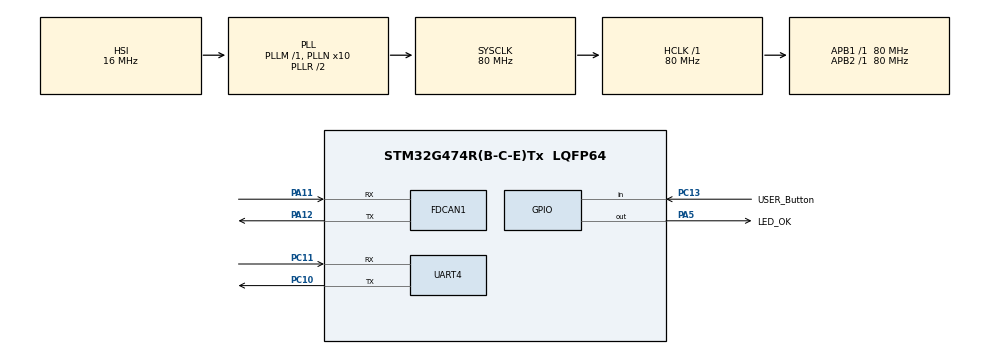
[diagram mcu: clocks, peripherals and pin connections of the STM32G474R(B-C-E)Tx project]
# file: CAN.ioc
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FDCAN1.AutoRetransmission=ENABLE
FDCAN1.DataSyncJumpWidth=4
FDCAN1.DataTimeSeg1=5
FDCAN1.DataTimeSeg2=4
FDCAN1.ExtFiltersNbr=1
FDCAN1.FrameFormat=FDCAN_FRAME_FD_BRS
FDCAN1.Mode=FDCAN_MODE_EXTERNAL_LOOPBACK
FDCAN1.NominalSyncJumpWidth=16
FDCAN1.NominalTimeSeg1=63
FDCAN1.NominalTimeSeg2=16
FDCAN1.StdFiltersNbr=1
FDCAN1.TransmitPause=ENABLE
FDCAN1.TxFifoQueueMode=FDCAN_TX_FIFO_OPERATION
FREERTOS.HEAP_NUMBER=2
FREERTOS.INCLUDE_uxTaskGetStackHighWaterMark=1
FREERTOS.INCLUDE_uxTaskGetStackHighWaterMark2=1
FREERTOS.Tasks01=defaultTask,0,384,StartDefaultTask,Default,NULL,Dynamic,NULL,NULL
FREERTOS.configCHECK_FOR_STACK_OVERFLOW=2
FREERTOS.configENABLE_BACKWARD_COMPATIBILITY=0
FREERTOS.configRECORD_STACK_HIGH_ADDRESS=1
FREERTOS.configUSE_COUNTING_SEMAPHORES=1
FREERTOS.configUSE_MALLOC_FAILED_HOOK=1
FREERTOS.configUSE_NEWLIB_REENTRANT=1
IWDG.Prescaler=IWDG_PRESCALER_16
IWDG.Reload=3999
IWDG.Window=3999
Mcu.Family=STM32G4
Mcu.Name=STM32G474R(B-C-E)Tx
Mcu.Package=LQFP64
NVIC.FDCAN1_IT0_IRQn=true\:5\:0\:false\:false\:true\:true\:true\:true\:true
NVIC.FDCAN1_IT1_IRQn=true\:5\:0\:false\:false\:true\:true\:true\:true\:true
NVIC.PriorityGroup=NVIC_PRIORITYGROUP_4
NVIC.TIM1_TRG_COM_TIM17_IRQn=true\:15\:0\:false\:false\:true\:false\:false\:true\:true
NVIC.TIM1_UP_TIM16_IRQn=true\:5\:0\:false\:false\:true\:true\:true\:true\:true
NVIC.TimeBase=TIM1_TRG_COM_TIM17_IRQn
NVIC.TimeBaseIP=TIM17
NVIC.UART4_IRQn=true\:5\:0\:false\:false\:true\:true\:true\:true\:true
PA11.Mode=FDCAN_Activate
PA11.Signal=FDCAN1_RX
PA12.Mode=FDCAN_Activate
PA12.Signal=FDCAN1_TX
PA13.Mode=Trace_Asynchronous_SW
PA13.Signal=SYS_JTMS-SWDIO
PA14.Mode=Trace_Asynchronous_SW
PA14.Signal=SYS_JTCK-SWCLK
PA5.GPIO_Label=LED_OK
PA5.Signal=GPIO_Output
PB3.Mode=Trace_Asynchronous_SW
PB3.Signal=SYS_JTDO-SWO
PC10.Mode=Asynchronous
PC10.Signal=UART4_TX
PC11.Mode=Asynchronous
PC11.Signal=UART4_RX
PC13.GPIO_Label=USER_Button
PC13.Signal=GPIO_Input
ProjectManager.HeapSize=0x200
ProjectManager.StackSize=0x400
ProjectManager.TargetToolchain=STM32CubeIDE
RCC.ADC12Freq_Value=80000000
RCC.ADC345Freq_Value=80000000
RCC.AHBFreq_Value=80000000
RCC.APB1Freq_Value=80000000
RCC.APB1TimFreq_Value=80000000
RCC.APB2Freq_Value=80000000
RCC.APB2TimFreq_Value=80000000
RCC.CortexFreq_Value=80000000
RCC.EXTERNAL_CLOCK_VALUE=12288000
RCC.HCLKFreq_Value=80000000
RCC.HSE_VALUE=8000000
RCC.HSI48_VALUE=48000000
RCC.HSI_VALUE=16000000
RCC.LSE_VALUE=32768
RCC.PLLN=10
RCC.SYSCLKFreq_VALUE=80000000
RCC.SYSCLKSource=RCC_SYSCLKSOURCE_PLLCLK
RCC.USBFreq_Value=80000000
RCC.VCOOutputFreq_Value=160000000
TIM16.PeriodNoDither=100
TIM16.Prescaler=80
UART4.OverrunDisableParam=UART_ADVFEATURE_OVERRUN_DISABLE
VP_FREERTOS_VS_CMSIS_V1.Mode=CMSIS_V1
VP_IWDG_VS_IWDG.Mode=IWDG_Activate
VP_SYS_VS_DBSignals.Mode=DisableDeadBatterySignals
VP_SYS_VS_tim17.Mode=TIM17
VP_TIM16_VS_ClockSourceINT.Mode=Enable_Timer
board=custom

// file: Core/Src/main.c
/* USER CODE BEGIN Header */
/**
  ******************************************************************************
  * @file           : main.c
  * @brief          : Main program body
  ******************************************************************************
  * @attention
  *
  * Copyright (c) 2022 STMicroelectronics.
  * All rights reserved.
  *
  * This software is licensed under terms that can be found in the LICENSE file
  * in the root directory of this software component.
  * If no LICENSE file comes with this software, it is provided AS-IS.
  *
  ******************************************************************************
  */
/* USER CODE END Header */
#include "main.h"
#include "cmsis_os.h"

/* USER CODE BEGIN Includes */
#include "circbuff.h"
#include "crc.h"
#include <string.h>
#include <stdio.h>
#include <inttypes.h>
/* USER CODE END Includes */

 FDCAN_HandleTypeDef hfdcan1;

IWDG_HandleTypeDef hiwdg;

TIM_HandleTypeDef htim16;

UART_HandleTypeDef huart4;

osThreadId defaultTaskHandle;
/* USER CODE BEGIN PV */
FDCAN_FilterTypeDef sFilterConfig;
FDCAN_RxHeaderTypeDef RxHeader;

uint8_t RxData[16];

uint8_t rx_circular_buffer[512];
uint8_t uart_byte = 0;
uint16_t uart_recv_cnt = 0;

circbuff_t uart_cb;

uint8_t uart_timeout_flag = 0, uart_data_recv = 0;

#pragma pack(push, 1)
typedef struct
{
    uint32_t magic_number; // 0xAABBCCDD
    uint32_t frame_id;
    uint8_t data_len;
    uint8_t data[8];
    uint16_t crc;
} UartCanData;
#pragma pack(pop)
/* USER CODE END PV */

void SystemClock_Config(void);
static void MX_GPIO_Init(void);
static void MX_FDCAN1_Init(void);
static void MX_UART4_Init(void);
static void MX_TIM16_Init(void);
static void MX_IWDG_Init(void);
void StartDefaultTask(void const * argument);

int main(void)
{

  /* MCU Configuration--------------------------------------------------------*/

  /* Reset of all peripherals, Initializes the Flash interface and the Systick. */
  HAL_Init();

  /* Configure the system clock */
  SystemClock_Config();

  /* Initialize all configured peripherals */
  MX_GPIO_Init();
  MX_FDCAN1_Init();
  MX_UART4_Init();
  MX_TIM16_Init();
  MX_IWDG_Init();
  __HAL_DBGMCU_FREEZE_IWDG();
  /* USER CODE BEGIN 2 */
  circbuff_init(&uart_cb, rx_circular_buffer, sizeof(rx_circular_buffer));
  HAL_UART_Receive_IT(&huart4, &uart_byte, 1);
  HAL_TIM_Base_Start_IT(&htim16);
  /* USER CODE END 2 */

  /* Create the thread(s) */
  /* definition and creation of defaultTask */
  osThreadDef(defaultTask, StartDefaultTask, osPriorityNormal, 0, 384);
  defaultTaskHandle = osThreadCreate(osThread(defaultTask), NULL);

  /* Start scheduler */
  osKernelStart();

  /* We should never get here as control is now taken by the scheduler */
  /* Infinite loop */
  while (1)
  {

  }
}

void SystemClock_Config(void)
{
  RCC_OscInitTypeDef RCC_OscInitStruct = {0};
  RCC_ClkInitTypeDef RCC_ClkInitStruct = {0};

  /** Configure the main internal regulator output voltage
  */
  HAL_PWREx_ControlVoltageScaling(PWR_REGULATOR_VOLTAGE_SCALE1);

  /** Initializes the RCC Oscillators according to the specified parameters
  * in the RCC_OscInitTypeDef structure.
  */
  RCC_OscInitStruct.OscillatorType = RCC_OSCILLATORTYPE_HSI|RCC_OSCILLATORTYPE_LSI;
  RCC_OscInitStruct.HSIState = RCC_HSI_ON;
  RCC_OscInitStruct.HSICalibrationValue = RCC_HSICALIBRATION_DEFAULT;
  RCC_OscInitStruct.LSIState = RCC_LSI_ON;
  RCC_OscInitStruct.PLL.PLLState = RCC_PLL_ON;
  RCC_OscInitStruct.PLL.PLLSource = RCC_PLLSOURCE_HSI;
  RCC_OscInitStruct.PLL.PLLM = RCC_PLLM_DIV1;
  RCC_OscInitStruct.PLL.PLLN = 10;
  RCC_OscInitStruct.PLL.PLLP = RCC_PLLP_DIV2;
  RCC_OscInitStruct.PLL.PLLQ = RCC_PLLQ_DIV2;
  RCC_OscInitStruct.PLL.PLLR = RCC_PLLR_DIV2;
  if (HAL_RCC_OscConfig(&RCC_OscInitStruct) != HAL_OK)
  {
    Error_Handler();
  }

  /** Initializes the CPU, AHB and APB buses clocks
  */
  RCC_ClkInitStruct.ClockType = RCC_CLOCKTYPE_HCLK|RCC_CLOCKTYPE_SYSCLK
                              |RCC_CLOCKTYPE_PCLK1|RCC_CLOCKTYPE_PCLK2;
  RCC_ClkInitStruct.SYSCLKSource = RCC_SYSCLKSOURCE_PLLCLK;
  RCC_ClkInitStruct.AHBCLKDivider = RCC_SYSCLK_DIV1;
  RCC_ClkInitStruct.APB1CLKDivider = RCC_HCLK_DIV1;
  RCC_ClkInitStruct.APB2CLKDivider = RCC_HCLK_DIV1;

  if (HAL_RCC_ClockConfig(&RCC_ClkInitStruct, FLASH_LATENCY_2) != HAL_OK)
  {
    Error_Handler();
  }
}

static void MX_FDCAN1_Init(void)
{

  hfdcan1.Instance = FDCAN1;
  hfdcan1.Init.ClockDivider = FDCAN_CLOCK_DIV1;
  hfdcan1.Init.FrameFormat = FDCAN_FRAME_FD_BRS; //FDCAN_FRAME_CLASSIC;
  hfdcan1.Init.Mode = FDCAN_MODE_NORMAL; //FDCAN_MODE_EXTERNAL_LOOPBACK;  // FDCAN_MODE_NORMAL
  hfdcan1.Init.AutoRetransmission = DISABLE;
  hfdcan1.Init.TransmitPause = ENABLE;
  hfdcan1.Init.ProtocolException = ENABLE;
  hfdcan1.Init.NominalPrescaler = 1;
  hfdcan1.Init.NominalSyncJumpWidth = 40;
  hfdcan1.Init.NominalTimeSeg1 = 119;
  hfdcan1.Init.NominalTimeSeg2 = 40;
  hfdcan1.Init.DataPrescaler = 5;
  hfdcan1.Init.DataSyncJumpWidth = 16;
  hfdcan1.Init.DataTimeSeg1 = 15;
  hfdcan1.Init.DataTimeSeg2 = 16;
  hfdcan1.Init.StdFiltersNbr = 1;
  hfdcan1.Init.ExtFiltersNbr = 1;
  hfdcan1.Init.TxFifoQueueMode = FDCAN_TX_FIFO_OPERATION;
  if (HAL_FDCAN_Init(&hfdcan1) != HAL_OK)
  {
    Error_Handler();
  }

}

static void MX_IWDG_Init(void)
{

  hiwdg.Instance = IWDG;
  hiwdg.Init.Prescaler = IWDG_PRESCALER_16;
  hiwdg.Init.Window = 3999;
  hiwdg.Init.Reload = 3999;
  if (HAL_IWDG_Init(&hiwdg) != HAL_OK)
  {
    Error_Handler();
  }

}

static void MX_TIM16_Init(void)
{

  htim16.Instance = TIM16;
  htim16.Init.Prescaler = 80;
  htim16.Init.CounterMode = TIM_COUNTERMODE_UP;
  htim16.Init.Period = 100;
  htim16.Init.ClockDivision = TIM_CLOCKDIVISION_DIV1;
  htim16.Init.RepetitionCounter = 0;
  htim16.Init.AutoReloadPreload = TIM_AUTORELOAD_PRELOAD_DISABLE;
  if (HAL_TIM_Base_Init(&htim16) != HAL_OK)
  {
    Error_Handler();
  }

}

static void MX_UART4_Init(void)
{

  huart4.Instance = UART4;
  huart4.Init.BaudRate = 921600;
  huart4.Init.WordLength = UART_WORDLENGTH_8B;
  huart4.Init.StopBits = UART_STOPBITS_1;
  huart4.Init.Parity = UART_PARITY_NONE;
  huart4.Init.Mode = UART_MODE_TX_RX;
  huart4.Init.HwFlowCtl = UART_HWCONTROL_NONE;
  huart4.Init.OverSampling = UART_OVERSAMPLING_16;
  huart4.Init.OneBitSampling = UART_ONE_BIT_SAMPLE_DISABLE;
  huart4.Init.ClockPrescaler = UART_PRESCALER_DIV1;
  huart4.AdvancedInit.AdvFeatureInit = UART_ADVFEATURE_RXOVERRUNDISABLE_INIT;
  huart4.AdvancedInit.OverrunDisable = UART_ADVFEATURE_OVERRUN_DISABLE;
  if (HAL_UART_Init(&huart4) != HAL_OK)
  {
    Error_Handler();
  }
  if (HAL_UARTEx_SetTxFifoThreshold(&huart4, UART_TXFIFO_THRESHOLD_1_8) != HAL_OK)
  {
    Error_Handler();
  }
  if (HAL_UARTEx_SetRxFifoThreshold(&huart4, UART_RXFIFO_THRESHOLD_1_8) != HAL_OK)
  {
    Error_Handler();
  }
  if (HAL_UARTEx_DisableFifoMode(&huart4) != HAL_OK)
  {
    Error_Handler();
  }

}

static void MX_GPIO_Init(void)
{
  GPIO_InitTypeDef GPIO_InitStruct = {0};

  /* GPIO Ports Clock Enable */
  __HAL_RCC_GPIOC_CLK_ENABLE();
  __HAL_RCC_GPIOA_CLK_ENABLE();
  __HAL_RCC_GPIOB_CLK_ENABLE();

  /*Configure GPIO pin Output Level */
  HAL_GPIO_WritePin(LED_OK_GPIO_Port, LED_OK_Pin, GPIO_PIN_RESET);

  /*Configure GPIO pin : USER_Button_Pin */
  GPIO_InitStruct.Pin = USER_Button_Pin;
  GPIO_InitStruct.Mode = GPIO_MODE_INPUT;
  GPIO_InitStruct.Pull = GPIO_NOPULL;
  HAL_GPIO_Init(USER_Button_GPIO_Port, &GPIO_InitStruct);

  /*Configure GPIO pin : LED_OK_Pin */
  GPIO_InitStruct.Pin = LED_OK_Pin;
  GPIO_InitStruct.Mode = GPIO_MODE_OUTPUT_PP;
  GPIO_InitStruct.Pull = GPIO_NOPULL;
  GPIO_InitStruct.Speed = GPIO_SPEED_FREQ_LOW;
  HAL_GPIO_Init(LED_OK_GPIO_Port, &GPIO_InitStruct);

}

/* USER CODE BEGIN 4 */
/* USER CODE BEGIN 4 */

void HAL_UART_RxCpltCallback(UART_HandleTypeDef *huart)
{
  circbuff_add_byte(&uart_cb, uart_byte);
  HAL_UART_Receive_IT(&huart4, &uart_byte, 1);
  TIM16->CNT = 0;
  uart_timeout_flag = 0;
  uart_data_recv = 1;
}

void HAL_UART_TxCpltCallback(UART_HandleTypeDef *huart)
{

}

void HAL_UART_ErrorCallback(UART_HandleTypeDef *huart)
{

}

/**
  * @brief  Rx FIFO 0 callback.
  * @param  hfdcan pointer to an FDCAN_HandleTypeDef structure that contains
  *         the configuration information for the specified FDCAN.
  * @param  RxFifo0ITs indicates which Rx FIFO 0 interrupts are signaled.
  *         This parameter can be any combination of @arg FDCAN_Rx_Fifo0_Interrupts.
  * @retval None
  */
void HAL_FDCAN_RxFifo0Callback(FDCAN_HandleTypeDef *hfdcan, uint32_t RxFifo0ITs)
{
  if((RxFifo0ITs & FDCAN_IT_RX_FIFO0_NEW_MESSAGE) != 0)
  {
    /* Retrieve Rx messages from RX FIFO0 */
    if (HAL_FDCAN_GetRxMessage(hfdcan, FDCAN_RX_FIFO0, &RxHeader, RxData) != HAL_OK)
    {
      Error_Handler();
    }

    UartCanData d;
    d.magic_number = 0xAABBCCDE; //__bswap32(0xAABBCCDE);
    d.frame_id = RxHeader.Identifier;
    switch(RxHeader.DataLength)
    {
      case FDCAN_DLC_BYTES_0:
        d.data_len = 0;
        break;
      case FDCAN_DLC_BYTES_1:
        d.data_len = 1;
        break;
      case FDCAN_DLC_BYTES_2:
        d.data_len = 2;
        break;
      case FDCAN_DLC_BYTES_3:
        d.data_len = 3;
        break;
      case FDCAN_DLC_BYTES_4:
        d.data_len = 4;
        break;
      case FDCAN_DLC_BYTES_5:
        d.data_len = 5;
        break;
      case FDCAN_DLC_BYTES_6:
        d.data_len = 6;
        break;
      case FDCAN_DLC_BYTES_7:
        d.data_len = 7;
        break;
      case FDCAN_DLC_BYTES_8:
        d.data_len = 8;
        break;
      default:
        d.data_len = 0;
        break;
    }
    memcpy(d.data, RxData, 8);  /* 8 is constant, this is not a bug */
    d.crc = crc16_calculate((uint8_t*)&d, sizeof(d) - 2);
    HAL_UART_Transmit(&huart4, (uint8_t*)&d, sizeof(d), 100);
    HAL_GPIO_TogglePin(LED_OK_GPIO_Port, LED_OK_Pin);
  }
}

void HAL_FDCAN_RxFifo1Callback(FDCAN_HandleTypeDef *hfdcan, uint32_t RxFifo1ITs)
{
  if((RxFifo1ITs & FDCAN_IT_RX_FIFO1_NEW_MESSAGE) != 0)
  {
    /* Retrieve Rx messages from RX FIFO0 */
    if (HAL_FDCAN_GetRxMessage(hfdcan, FDCAN_RX_FIFO1, &RxHeader, RxData) != HAL_OK)
    {
      Error_Handler();
    }

    UartCanData d;
    d.magic_number = 0xAABBCCDE; //__bswap32(0xAABBCCDE);
    d.frame_id = RxHeader.Identifier;
    switch(RxHeader.DataLength)
    {
      case FDCAN_DLC_BYTES_0:
        d.data_len = 0;
        break;
      case FDCAN_DLC_BYTES_1:
        d.data_len = 1;
        break;
      case FDCAN_DLC_BYTES_2:
        d.data_len = 2;
        break;
      case FDCAN_DLC_BYTES_3:
        d.data_len = 3;
        break;
      case FDCAN_DLC_BYTES_4:
        d.data_len = 4;
        break;
      case FDCAN_DLC_BYTES_5:
        d.data_len = 5;
        break;
      case FDCAN_DLC_BYTES_6:
        d.data_len = 6;
        break;
      case FDCAN_DLC_BYTES_7:
        d.data_len = 7;
        break;
      case FDCAN_DLC_BYTES_8:
        d.data_len = 8;
        break;
      default:
        d.data_len = 0;
        break;
    }
    memcpy(d.data, RxData, 8);  /* 8 is constant, this is not a bug */
    d.crc = crc16_calculate((uint8_t*)&d, sizeof(d) - 2);
    HAL_UART_Transmit(&huart4, (uint8_t*)&d, sizeof(d), 100);
    HAL_GPIO_TogglePin(LED_OK_GPIO_Port, LED_OK_Pin);
  }
}

void HAL_FDCAN_TxEventFifoCallback(FDCAN_HandleTypeDef *hfdcan, uint32_t TxEventFifoITs)
{
  printf("TX fifo");
}

void HAL_FDCAN_TxBufferCompleteCallback(FDCAN_HandleTypeDef *hfdcan, uint32_t BufferIndexes)
{
  printf("complete");
}
/* USER CODE END 4 */

void StartDefaultTask(void const * argument)
{
  /* USER CODE BEGIN 5 */
  sFilterConfig.IdType = FDCAN_STANDARD_ID;
  sFilterConfig.FilterIndex = 0;
  sFilterConfig.FilterType = FDCAN_FILTER_DUAL;
  sFilterConfig.FilterConfig = FDCAN_FILTER_TO_RXFIFO0;
  sFilterConfig.FilterID1 = 0x1;
  sFilterConfig.FilterID2 = 0xFFF;
  if (HAL_FDCAN_ConfigFilter(&hfdcan1, &sFilterConfig) != HAL_OK)
  {
    Error_Handler();
  }

  sFilterConfig.IdType = FDCAN_EXTENDED_ID;
  sFilterConfig.FilterIndex = 1;
  sFilterConfig.FilterType = FDCAN_FILTER_DUAL;
  sFilterConfig.FilterConfig = FDCAN_FILTER_TO_RXFIFO1;
  sFilterConfig.FilterID1 = 0xFFF;
  sFilterConfig.FilterID2 = 0x1FFFFFFF;
  if (HAL_FDCAN_ConfigFilter(&hfdcan1, &sFilterConfig) != HAL_OK)
  {
    Error_Handler();
  }
#if 0
  /* Configure extended ID reception filter to Rx FIFO 1 */
  sFilterConfig.IdType = FDCAN_EXTENDED_ID;
  sFilterConfig.FilterIndex = 0;
  sFilterConfig.FilterType = FDCAN_FILTER_RANGE_NO_EIDM;
  sFilterConfig.FilterConfig = FDCAN_FILTER_TO_RXFIFO1;
  sFilterConfig.FilterID1 = 0x1;
  sFilterConfig.FilterID2 = 0x2222222;
  if (HAL_FDCAN_ConfigFilter(&hfdcan1, &sFilterConfig) != HAL_OK)
  {
    Error_Handler();
  }
#endif
  /* Configure global filter:
     Filter all remote frames with STD and EXT ID
     Reject non matching frames with STD ID and EXT ID */
  if (HAL_FDCAN_ConfigGlobalFilter(&hfdcan1, FDCAN_ACCEPT_IN_RX_FIFO0, FDCAN_ACCEPT_IN_RX_FIFO1, FDCAN_ACCEPT_IN_RX_FIFO0, FDCAN_ACCEPT_IN_RX_FIFO1) != HAL_OK)
  {
    Error_Handler();
  }

  /*##-2 Start FDCAN controller (continuous listening CAN bus) ##############*/
  if (HAL_FDCAN_Start(&hfdcan1) != HAL_OK)
  {
    Error_Handler();
  }

  /* Activate Rx FIFO 0 new message notification on both FDCAN instances */
  if (HAL_FDCAN_ActivateNotification(&hfdcan1, FDCAN_IT_RX_FIFO0_NEW_MESSAGE | FDCAN_IT_RX_FIFO1_NEW_MESSAGE/* | FDCAN_IT_TX_COMPLETE | FDCAN_IT_TX_FIFO_EMPTY*/, 0) != HAL_OK)
  {
    Error_Handler();
  }
  if (HAL_FDCAN_ActivateNotification(&hfdcan1, FDCAN_IT_RX_FIFO0_NEW_MESSAGE | FDCAN_IT_RX_FIFO1_NEW_MESSAGE/* | FDCAN_IT_TX_COMPLETE | FDCAN_IT_TX_FIFO_EMPTY*/, 1) != HAL_OK)
  {
    Error_Handler();
  }

  /* Infinite loop */
  for(;;)
  {
    if(uart_timeout_flag && uart_data_recv)
    {
      printf("uart timeout");

      uart_data_recv = 0;

      uint8_t b = 0;
      uint8_t cnt = 0;

      uint8_t buffer[64];
      memset(buffer, 0, sizeof(buffer));
      while(circbuff_get_byte(&uart_cb, &b))
      {
        if(cnt >= sizeof(buffer) - 1)
          Error_Handler();

        buffer[cnt++] = b;
      }

      if(buffer[3] == 0xAA && buffer[2] == 0xBB && buffer[1] == 0xCC && buffer[0] == 0xDD) /* Magic number matches */
      {
        UartCanData d;
        d.magic_number = 0xAABBCCDD;
        d.frame_id = buffer[7] << 24 | buffer[6] << 16 | buffer[5] << 8 | buffer[4];
        d.data_len = buffer[8];
        d.crc = buffer[18] << 8 | buffer[17];
        memcpy(d.data, &buffer[9], sizeof(d.data));

        volatile uint16_t crc = crc16_calculate((uint8_t*)&d, sizeof(d) - 2);

        if(crc == d.crc)
        {

          uint32_t dlc_stm = FDCAN_DLC_BYTES_8;
          switch(d.data_len)
          {
            case 0:
              dlc_stm = FDCAN_DLC_BYTES_0;
              break;
            case 1:
              dlc_stm = FDCAN_DLC_BYTES_1;
              break;
            case 2:
              dlc_stm = FDCAN_DLC_BYTES_2;
              break;
            case 3:
              dlc_stm = FDCAN_DLC_BYTES_3;
              break;
            case 4:
              dlc_stm = FDCAN_DLC_BYTES_4;
              break;
            case 5:
              dlc_stm = FDCAN_DLC_BYTES_5;
              break;
            case 6:
              dlc_stm = FDCAN_DLC_BYTES_6;
              break;
            case 7:
              dlc_stm = FDCAN_DLC_BYTES_7;
              break;
            case 8:
              dlc_stm = FDCAN_DLC_BYTES_8;
              break;
            default:
              dlc_stm = FDCAN_DLC_BYTES_0;
              break;
          }

          /* Prepare Tx message Header */
          FDCAN_TxHeaderTypeDef TxHeader;
          TxHeader.Identifier = d.frame_id;
          TxHeader.IdType = d.frame_id > 0x7FF ? FDCAN_EXTENDED_ID : FDCAN_STANDARD_ID;
          TxHeader.TxFrameType = FDCAN_DATA_FRAME;
          TxHeader.DataLength = dlc_stm;
          TxHeader.ErrorStateIndicator = FDCAN_ESI_PASSIVE;
          TxHeader.BitRateSwitch = FDCAN_BRS_OFF;
          TxHeader.FDFormat = FDCAN_CLASSIC_CAN;
          TxHeader.TxEventFifoControl = FDCAN_STORE_TX_EVENTS;
          TxHeader.MessageMarker = 0x52;

          if (HAL_FDCAN_AddMessageToTxFifoQ(&hfdcan1, &TxHeader, d.data) != HAL_OK)
          {
            //Error_Handler();
          }

          if(d.frame_id > 0x7FF)
            printf("big frame");
          while(HAL_FDCAN_IsTxBufferMessagePending(&hfdcan1, d.frame_id > 0x7FF ? 1 : 0)) {}
        }
        else
        {
          printf("invalid crc");
        }
      }
      else
      {
        printf("invalid buffer");
      }
    }
    osDelay(1);
    HAL_IWDG_Refresh(&hiwdg);
  }
  /* USER CODE END 5 */
}

void HAL_TIM_PeriodElapsedCallback(TIM_HandleTypeDef *htim)
{
  if (htim->Instance == TIM17) {
    HAL_IncTick();
  }
  /* USER CODE BEGIN Callback 1 */
  else if(htim->Instance == TIM16)
  {
    if(uart_data_recv)
      uart_timeout_flag = 1;
  }
  /* USER CODE END Callback 1 */
}

void Error_Handler(void)
{
  __disable_irq();
  while (1)
  {
  }
}

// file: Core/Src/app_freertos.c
/* USER CODE BEGIN Header */
/**
  ******************************************************************************
  * File Name          : app_freertos.c
  * Description        : Code for freertos applications
  ******************************************************************************
  * @attention
  *
  * Copyright (c) 2022 STMicroelectronics.
  * All rights reserved.
  *
  * This software is licensed under terms that can be found in the LICENSE file
  * in the root directory of this software component.
  * If no LICENSE file comes with this software, it is provided AS-IS.
  *
  ******************************************************************************
  */
/* USER CODE END Header */

#include "FreeRTOS.h"
#include "task.h"
#include "main.h"

/* Hook prototypes */
void vApplicationStackOverflowHook(TaskHandle_t xTask, signed char *pcTaskName);
void vApplicationMallocFailedHook(void);

/* USER CODE BEGIN 4 */
__weak void vApplicationStackOverflowHook(TaskHandle_t xTask, signed char *pcTaskName)
{
   /* Run time stack overflow checking is performed if
   configCHECK_FOR_STACK_OVERFLOW is defined to 1 or 2. This hook function is
   called if a stack overflow is detected. */
  Error_Handler();
}
/* USER CODE END 4 */

/* USER CODE BEGIN 5 */
__weak void vApplicationMallocFailedHook(void)
{
   /* vApplicationMallocFailedHook() will only be called if
   configUSE_MALLOC_FAILED_HOOK is set to 1 in FreeRTOSConfig.h. It is a hook
   function that will get called if a call to pvPortMalloc() fails.
   pvPortMalloc() is called internally by the kernel whenever a task, queue,
   timer or semaphore is created. It is also called by various parts of the
   demo application. If heap_1.c or heap_2.c are used, then the size of the
   heap available to pvPortMalloc() is defined by configTOTAL_HEAP_SIZE in
   FreeRTOSConfig.h, and the xPortGetFreeHeapSize() API function can be used
   to query the size of free heap space that remains (although it does not
   provide information on how the remaining heap might be fragmented). */
  Error_Handler();
}
/* USER CODE END 5 */
